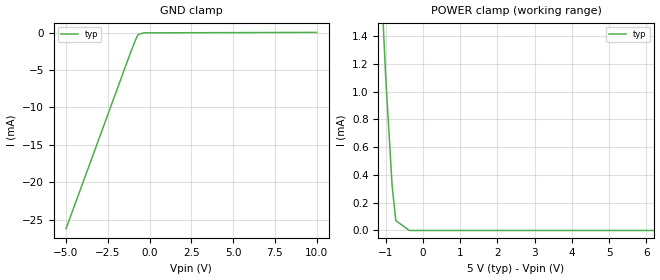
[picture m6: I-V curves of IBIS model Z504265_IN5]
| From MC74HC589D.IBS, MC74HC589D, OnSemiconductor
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| (C) COPYRIGHT 1993-2000
| MENTOR GRAPHICS CORPORATION
| ICX STANDARD LIBRARY, ICX PROJECT MODELING,
| ICX CUSTOM MODELING, ICX VENDOR MODEL
| ALL RIGHTS RESERVED.
| THE FOLLOWING ARE TRADEMARKS OR SERVICE MARKS OF
| MENTOR GRAPHICS CORPORATION:ICX (R), ICX STANDARD
| LIBRARY(R), ICX PROJECT MODELING(R), ICX CUSTOM
| MODELING(R), qualityIBIS(TM), MODELVIEWER(TM),
| AND MODELEDITOR(TM)
| ALL COPIES OF SOFTWARE, INCLUDING BUT NOT LIMITED TO
| ANY MODIFICATIONS, ENHANCEMENTS OR DERIVATIVE WORKS,
| MUST CONTAIN ALL MENTOR GRAPHICS CORPORATION'S
| NOTICES AND LEGENDS, INCLUDING THOSE EMBEDDED IN
| SOFTWARE AND THOSE AFFIXED TO SOFTWARE MEDIUM
| AND CONTAINER, AS RECEIVED FROM MENTOR GRAPHICS
| CORPORATION.
| Model Application Version 1.89 2/18/99.
[Model] Z504265_IN5
Model_type Input
Vinl = 1.000V
Vinh = 3.500V
C_comp 4.000pF NA NA
| variable typ   min   max
[Voltage Range] 5.000V NA NA
[GND Clamp Reference] 0.000V NA NA
[POWER Clamp Reference] 5.000V NA NA
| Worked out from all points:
|   POWER clamp passes 1 mA (typ) near -0.98 V on its own axis
[GND Clamp]
-5V       -26.22mA   NA         NA
-1.123V   -2.583mA   NA         NA
-817.7mV  -868.8uA   NA         NA
-683.5mV  -250.3uA   NA         NA
-341.7mV  -34.27uA   NA         NA
10V       27.29uA    NA         NA
[POWER Clamp]
-5V       25.48mA    NA         NA
-1.396V   3.363mA    NA         NA
-1V       1.107mA    NA         NA
-827mV    320.8uA    NA         NA
-728mV    70.75uA    NA         NA
-364mV    0A         NA         NA
10V       0A         NA         NA
